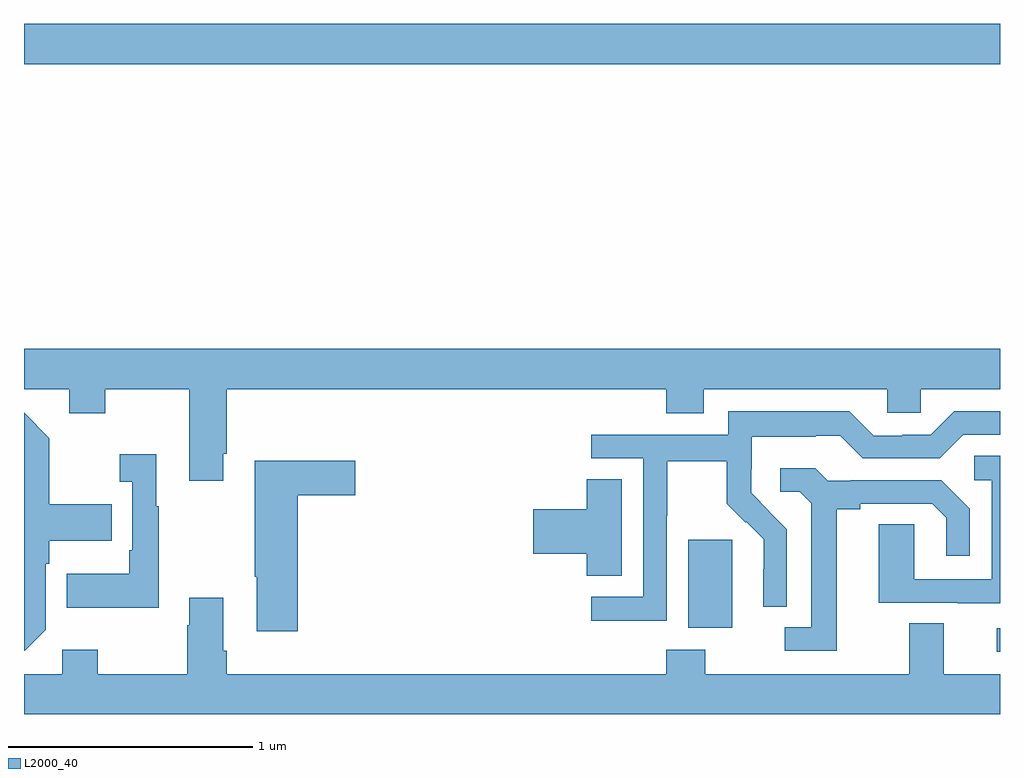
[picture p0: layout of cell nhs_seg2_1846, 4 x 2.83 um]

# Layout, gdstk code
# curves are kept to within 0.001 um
import gdstk
lib = gdstk.Library(unit=1e-6, precision=1e-09)
def R(c, l, rs):  # rectangles x0, y0, x1, y1
    for r in rs: c.add(gdstk.rectangle(r[:2], r[2:], *l))
def P(c, l, *ps):  # polygons
    for p in ps: c.add(gdstk.Polygon(p, *l))
L2000_40 = (2000, 40)

nhs_seg2_1846 = lib.new_cell('nhs_seg2_1846')
R(nhs_seg2_1846, L2000_40, [(210.987,649.224,211,649.32), (209.723,649.322,209.902,649.683), (207,651.632,211,651.796)])
P(nhs_seg2_1846, L2000_40, [(207.817,650.035),(207.83,650.035),(207.83,650.3),(209.633,650.3),(209.633,650.201),(209.785,650.201),(209.785,650.3),(210.537,650.3),(210.537,650.202),(210.675,650.202),(210.675,650.3),(211,650.3),(211,650.464),(207,650.464),(207,650.3),(207.185,650.3),(207.185,650.201),(207.333,650.201),(207.333,650.3),(207.677,650.3),(207.677,649.923),(207.817,649.923)],
  [(209.634,649.78),(209.637,649.78),(209.637,650.004),(209.881,650.004),(209.881,649.829),(209.958,649.752),(209.961,649.755),(210.032,649.685),(210.032,649.562),(210.03,649.562),(210.03,649.408),(210.126,649.408),(210.126,649.726),(209.98,649.874),(209.98,649.971),(209.982,649.971),(209.982,650.105),(210.245,650.105),(210.245,650.109),(210.345,650.109),(210.438,650.016),(210.753,650.016),(210.849,650.112),(211,650.112),(211,650.208),(210.813,650.208),(210.717,650.112),(210.599,650.112),(210.599,650.109),(210.483,650.109),(210.383,650.209),(209.886,650.209),(209.886,650.112),(209.325,650.112),(209.325,650.016),(209.538,650.016),(209.538,649.449),(209.325,649.449),(209.325,649.351),(209.634,649.351)],
  [(207.09,649.314),(207.09,649.583),(207.103,649.583),(207.103,649.679),(207.359,649.679),(207.359,649.827),(207.103,649.827),(207.103,650.099),(207,650.202),(207,649.227),(207.003,649.227)],
  [(207.553,649.819),(207.541,649.819),(207.541,650.032),(207.393,650.032),(207.393,649.919),(207.444,649.919),(207.444,649.639),(207.432,649.639),(207.432,649.543),(207.175,649.543),(207.175,649.403),(207.553,649.403)],
  [(211,650.027),(210.894,650.027),(210.894,649.926),(210.966,649.926),(210.966,649.521),(210.648,649.521),(210.648,649.745),(210.503,649.745),(210.503,649.425),(210.827,649.425),(210.827,649.421),(211,649.421)],
  [(208.121,649.865),(208.357,649.865),(208.357,650.007),(207.946,650.007),(207.946,649.531),(207.953,649.531),(207.953,649.308),(208.121,649.308)],
  [(210.331,649.808),(210.427,649.808),(210.427,649.83),(210.722,649.83),(210.779,649.773),(210.779,649.617),(210.876,649.617),(210.876,649.81),(210.76,649.926),(210.388,649.926),(210.388,649.923),(210.294,649.923),(210.242,649.975),(210.099,649.975),(210.099,649.878),(210.18,649.878),(210.227,649.831),(210.227,649.323),(210.117,649.323),(210.117,649.227),(210.331,649.227)],
  [(209.449,649.931),(209.306,649.931),(209.306,649.808),(209.088,649.808),(209.088,649.625),(209.306,649.625),(209.306,649.534),(209.449,649.534)],
  [(211,649.132),(210.769,649.132),(210.769,649.34),(210.629,649.34),(210.629,649.132),(209.793,649.132),(209.793,649.231),(209.633,649.231),(209.633,649.132),(207.83,649.132),(207.83,649.228),(207.817,649.228),(207.817,649.444),(207.677,649.444),(207.677,649.331),(207.67,649.331),(207.67,649.132),(207.303,649.132),(207.303,649.231),(207.156,649.231),(207.156,649.132),(207,649.132),(207,648.968),(211,648.968)])

lib.write_gds('nhs_seg2_1846.gds')
